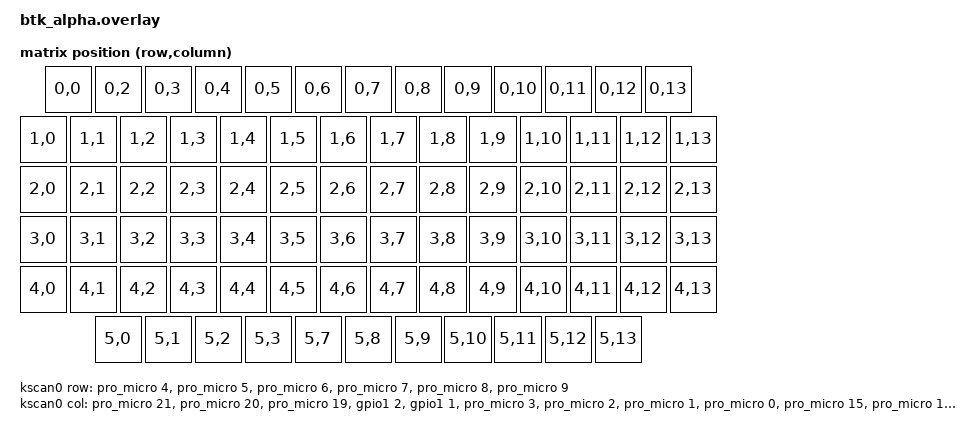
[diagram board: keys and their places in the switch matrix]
#include <dt-bindings/zmk/matrix_transform.h>

/ {
    chosen {
        zmk,kscan = &kscan0;
        zmk,matrix_transform = &default_transform;
    };

    default_transform: keymap_transform_0 {
        compatible = "zmk,matrix-transform";
        columns = <14>;
        rows = <6>;
        map = <
    RC(0,0)          RC(0,2) RC(0,3) RC(0,4) RC(0,5)    RC(0,6) RC(0,7) RC(0,8) RC(0,9)      RC(0,10) RC(0,11) RC(0,12) RC(0,13)
    RC(1,0)  RC(1,1) RC(1,2) RC(1,3) RC(1,4) RC(1,5) RC(1,6) RC(1,7) RC(1,8) RC(1,9) RC(1,10) RC(1,11) RC(1,12)     RC(1,13)
    RC(2,0)    RC(2,1) RC(2,2) RC(2,3) RC(2,4) RC(2,5) RC(2,6) RC(2,7) RC(2,8) RC(2,9) RC(2,10) RC(2,11) RC(2,12)   RC(2,13)
    RC(3,0)     RC(3,1) RC(3,2) RC(3,3) RC(3,4) RC(3,5) RC(3,6) RC(3,7) RC(3,8) RC(3,9) RC(3,10) RC(3,11)      RC(3,12)       RC(3, 13)
    RC(4,0)       RC(4,1) RC(4,2) RC(4,3) RC(4,4) RC(4,5) RC(4,6) RC(4,7) RC(4,8) RC(4,9) RC(4,10)    RC(4,11)       RC(4,12) RC(4,13)
    RC(5,0)    RC(5,1)   RC(5,2)           RC(5,3)              RC(5,7)     RC(5,8)    RC(5,9)  RC(5,10)    RC(5,11) RC(5,12) RC(5,13)
        >;
    };
    kscan0: kscan_0 {
        compatible = "zmk,kscan-gpio-matrix";
        label = "KSCAN";
        diode-direction = "col2row";

        col-gpios
            = <&pro_micro 21 GPIO_ACTIVE_HIGH> //COL_1  D21
            , <&pro_micro 20 GPIO_ACTIVE_HIGH> //COL_2  D20
            , <&pro_micro 19 GPIO_ACTIVE_HIGH> //COL_3  D19
            , <&gpio1 2 GPIO_ACTIVE_HIGH>      //COL_4  P1.02
            , <&gpio1 1 GPIO_ACTIVE_HIGH>      //COL_5  P1.01
            , <&pro_micro 3 GPIO_ACTIVE_HIGH>  //COL_6  D3
            , <&pro_micro 2 GPIO_ACTIVE_HIGH>  //COL_7  D2
            , <&pro_micro 1 GPIO_ACTIVE_HIGH>  //COL_8  D1
            , <&pro_micro 0 GPIO_ACTIVE_HIGH> //COL_9   D0
            , <&pro_micro 15 GPIO_ACTIVE_HIGH> //COL_10 D15
            , <&pro_micro 14 GPIO_ACTIVE_HIGH> //COL_11 D14
            , <&pro_micro 16 GPIO_ACTIVE_HIGH> //COL_12 D16
            , <&pro_micro 10 GPIO_ACTIVE_HIGH> //COL_13 D10
            , <&pro_micro 18 GPIO_ACTIVE_HIGH> //COL_14 D18
            ;

        row-gpios
            = <&pro_micro 4 (GPIO_ACTIVE_HIGH | GPIO_PULL_DOWN)> //ROW_1 D4
            , <&pro_micro 5 (GPIO_ACTIVE_HIGH | GPIO_PULL_DOWN)> //ROW_2 D5
            , <&pro_micro 6 (GPIO_ACTIVE_HIGH | GPIO_PULL_DOWN)> //ROW_3 D6
            , <&pro_micro 7 (GPIO_ACTIVE_HIGH | GPIO_PULL_DOWN)> //ROW_4 D7
            , <&pro_micro 8 (GPIO_ACTIVE_HIGH | GPIO_PULL_DOWN)> //ROW_5 D8
            , <&pro_micro 9 (GPIO_ACTIVE_HIGH | GPIO_PULL_DOWN)> //ROW_6 D9
            ;
    };
};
